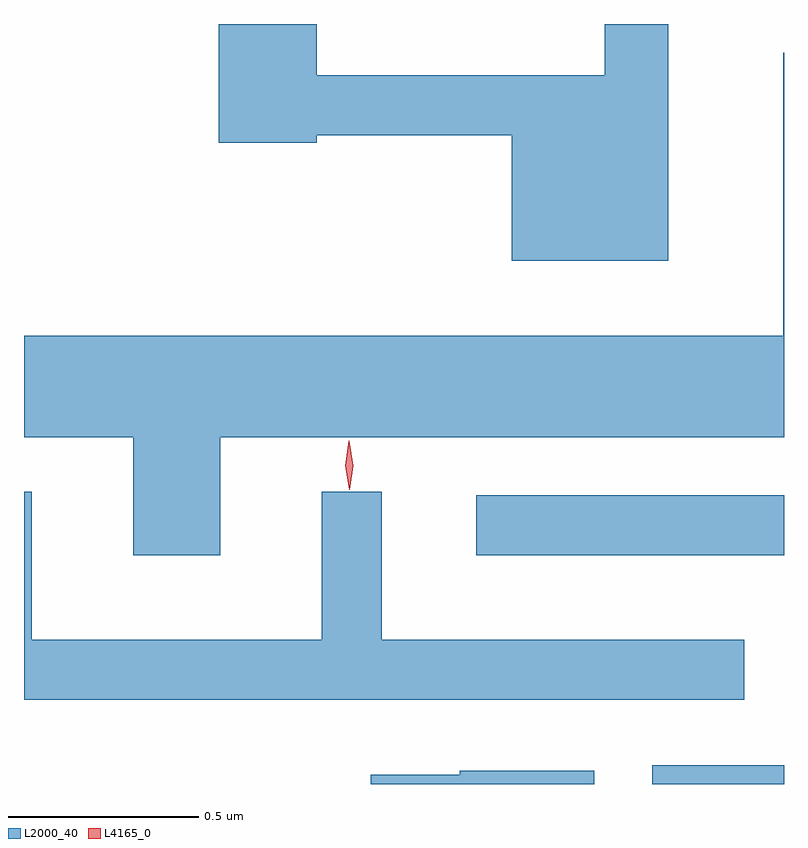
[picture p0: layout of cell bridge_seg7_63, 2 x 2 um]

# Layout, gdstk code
import gdstk
lib = gdstk.Library(unit=1e-6, precision=1e-09)
def R(c, l, rs):  # rectangles x0, y0, x1, y1
    for r in rs: c.add(gdstk.rectangle(r[:2], r[2:], *l))
def P(c, l, *ps):  # polygons
    for p in ps: c.add(gdstk.Polygon(p, *l))
L2000_40 = (2000, 40)
L4165_0 = (4165, 0)

bridge_seg7_63 = lib.new_cell('bridge_seg7_63')
R(bridge_seg7_63, L2000_40, [(1562.466,1748.924,1562.813,1748.974), (1562.003,1749.526,1562.813,1749.684)])
P(bridge_seg7_63, L2000_40, [(1562.509,1750.924),(1562.341,1750.924),(1562.341,1750.789),(1561.584,1750.789),(1561.584,1750.924),(1561.326,1750.924),(1561.326,1750.611),(1561.584,1750.611),(1561.584,1750.631),(1562.096,1750.631),(1562.096,1750.301),(1562.509,1750.301)],
  [(1561.329,1749.836),(1562.813,1749.836),(1562.813,1750.848),(1562.811,1750.848),(1562.811,1750.104),(1560.813,1750.104),(1560.813,1749.836),(1561.101,1749.836),(1561.101,1749.526),(1561.329,1749.526)],
  [(1562.708,1749.304),(1561.754,1749.304),(1561.754,1749.693),(1561.596,1749.693),(1561.596,1749.304),(1560.834,1749.304),(1560.834,1749.693),(1560.813,1749.693),(1560.813,1749.146),(1562.708,1749.146)],
  [(1562.314,1748.959),(1561.96,1748.959),(1561.96,1748.949),(1561.726,1748.949),(1561.726,1748.924),(1562.314,1748.924)])
P(bridge_seg7_63, L4165_0, [(1561.669,1749.698),(1561.669,1749.698),(1561.659,1749.762),(1561.668,1749.827),(1561.669,1749.827),(1561.669,1749.827),(1561.679,1749.762),(1561.67,1749.698)])

lib.write_gds('bridge_seg7_63.gds')
